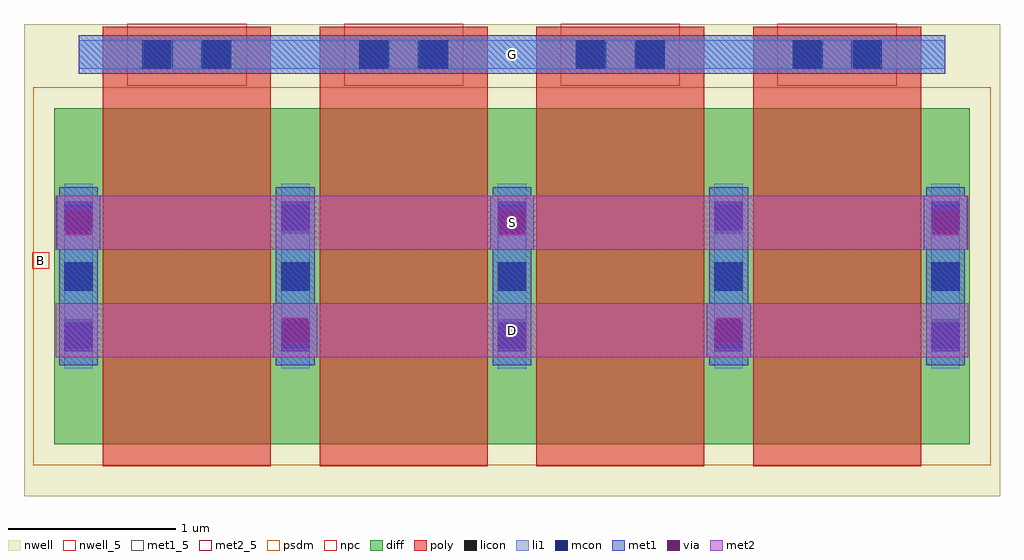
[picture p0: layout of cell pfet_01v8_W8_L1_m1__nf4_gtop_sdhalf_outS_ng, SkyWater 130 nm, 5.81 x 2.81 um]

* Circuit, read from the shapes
.subckt pfet_01v8_W8_L1_m1__nf4_gtop_sdhalf_outS_ng B D G S
XM1 D G S B sky130_fd_pr__pfet_01v8 w=2 l=1 m=4
.ends

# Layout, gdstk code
import gdstk
lib = gdstk.Library(unit=1e-6, precision=1e-09)
def R(c, l, rs):  # rectangles x0, y0, x1, y1
    for r in rs: c.add(gdstk.rectangle(r[:2], r[2:], *l))
def A(c, l, x, y, w, h, nx, ny, dx, dy):  # array of equal rectangles
    R(c, l, [(x+i*dx, y+j*dy, x+i*dx+w, y+j*dy+h) for i in range(nx) for j in range(ny)])
nwell_5 = (64, 5)
nwell = (64, 20)
diff = (65, 20)
poly = (66, 20)
licon = (66, 44)
li1 = (67, 20)
mcon = (67, 44)
met1_5 = (68, 5)
met1 = (68, 20)
via = (68, 44)
met2_5 = (69, 5)
met2 = (69, 20)
psdm = (94, 20)
npc = (95, 20)

sky130_fd_pr__pfet_01v8_ = lib.new_cell('sky130_fd_pr__pfet_01v8_82DCAY')
R(sky130_fd_pr__pfet_01v8_, nwell, [(-2.905,-1.49,2.905,1.32)])
R(sky130_fd_pr__pfet_01v8_, diff, [(-2.725,-1.18,2.725,0.82)])
A(sky130_fd_pr__pfet_01v8_, poly, -2.435, -1.31, 1, 2.615, 4, 1, 1.29, 0)
A(sky130_fd_pr__pfet_01v8_, licon, -2.665, -0.605, 0.17, 0.17, 5, 3, 1.29, 0.34)
R(sky130_fd_pr__pfet_01v8_, licon, [(-2.19,1.055,-2.02,1.225), (-1.85,1.055,-1.68,1.225), (-0.9,1.055,-0.73,1.225), (-0.56,1.055,-0.39,1.225), (0.39,1.055,0.56,1.225), (0.73,1.055,0.9,1.225), (1.68,1.055,1.85,1.225), (2.02,1.055,2.19,1.225)])
A(sky130_fd_pr__pfet_01v8_, li1, -2.665, -0.73, 0.17, 1.1, 5, 1, 1.29, 0)
R(sky130_fd_pr__pfet_01v8_, li1, [(-2.58,1.055,2.58,1.225)])
A(sky130_fd_pr__pfet_01v8_, mcon, -2.665, -0.625, 0.17, 0.17, 5, 3, 1.29, 0.36)
R(sky130_fd_pr__pfet_01v8_, mcon, [(-2.2,1.055,-2.03,1.225), (-1.84,1.055,-1.67,1.225), (-0.91,1.055,-0.74,1.225), (-0.55,1.055,-0.38,1.225), (0.38,1.055,0.55,1.225), (0.74,1.055,0.91,1.225), (1.67,1.055,1.84,1.225), (2.03,1.055,2.2,1.225)])
A(sky130_fd_pr__pfet_01v8_, met1, -2.695, -0.71, 0.23, 1.06, 5, 1, 1.29, 0)
A(sky130_fd_pr__pfet_01v8_, met1, -2.415, 1.025, 0.96, 0.03, 4, 2, 1.29, 0.2)
R(sky130_fd_pr__pfet_01v8_, met1, [(-2.58,1.055,2.58,1.225)])
R(sky130_fd_pr__pfet_01v8_, psdm, [(-2.85,-1.305,2.85,0.945)])
A(sky130_fd_pr__pfet_01v8_, npc, -2.29, 0.955, 0.71, 0.37, 4, 1, 1.29, 0)
sky130_fd_pr__pfet_01v8_.add(gdstk.Label('D0', (-2.58,-0.18), layer=67, texttype=5))
sky130_fd_pr__pfet_01v8_.add(gdstk.Label('G', (1.935,1.14), layer=67, texttype=5))
sky130_fd_pr__pfet_01v8_.add(gdstk.Label('G', (0.645,1.14), layer=67, texttype=5))
sky130_fd_pr__pfet_01v8_.add(gdstk.Label('G', (-0.645,1.14), layer=67, texttype=5))
sky130_fd_pr__pfet_01v8_.add(gdstk.Label('G', (-1.935,1.14), layer=67, texttype=5))
sky130_fd_pr__pfet_01v8_.add(gdstk.Label('S1', (-1.29,-0.18), layer=67, texttype=5))
sky130_fd_pr__pfet_01v8_.add(gdstk.Label('D2', (0,-0.18), layer=67, texttype=5))
sky130_fd_pr__pfet_01v8_.add(gdstk.Label('S3', (1.29,-0.18), layer=67, texttype=5))

pfet_01v8_w8_l1_m1__nf4_ = lib.new_cell('pfet_01v8_W8_L1_m1__nf4_gtop_sdhalf_outS_ng')
R(pfet_01v8_w8_l1_m1__nf4_, nwell_5, [(0.05,1.355,0.15,1.455)])
R(pfet_01v8_w8_l1_m1__nf4_, nwell, [(0.05,1.355,0.15,1.455)])
R(pfet_01v8_w8_l1_m1__nf4_, met1_5, [(0.325,2.515,5.485,2.745)])
A(pfet_01v8_w8_l1_m1__nf4_, met1, 0.195, 1.47, 0.26, 0.32, 3, 1, 2.58, 0)
R(pfet_01v8_w8_l1_m1__nf4_, met1, [(1.485,0.83,1.745,1.15), (4.065,0.83,4.325,1.15), (0.325,2.515,5.485,2.745)])
A(pfet_01v8_w8_l1_m1__nf4_, via, 0.25, 1.555, 0.15, 0.15, 3, 1, 2.58, 0)
R(pfet_01v8_w8_l1_m1__nf4_, via, [(1.54,0.915,1.69,1.065), (4.12,0.915,4.27,1.065)])
R(pfet_01v8_w8_l1_m1__nf4_, met2_5, [(0.19,0.83,5.62,1.15), (0.19,1.47,5.62,1.79)])
R(pfet_01v8_w8_l1_m1__nf4_, met2, [(0.19,0.83,5.62,1.15), (0.19,1.47,5.62,1.79)])
pfet_01v8_w8_l1_m1__nf4_.add(gdstk.Reference(sky130_fd_pr__pfet_01v8_, (2.905,1.49)))
pfet_01v8_w8_l1_m1__nf4_.add(gdstk.Label('S', (2.905,1.63), layer=69, texttype=5))
pfet_01v8_w8_l1_m1__nf4_.add(gdstk.Label('D', (2.905,0.99), layer=69, texttype=5))
pfet_01v8_w8_l1_m1__nf4_.add(gdstk.Label('G', (2.905,2.63), layer=68, texttype=5))
pfet_01v8_w8_l1_m1__nf4_.add(gdstk.Label('B', (0.1,1.405), layer=64, texttype=5))

lib.write_gds('pfet_01v8_W8_L1_m1__nf4_gtop_sdhalf_outS_ng.gds')
